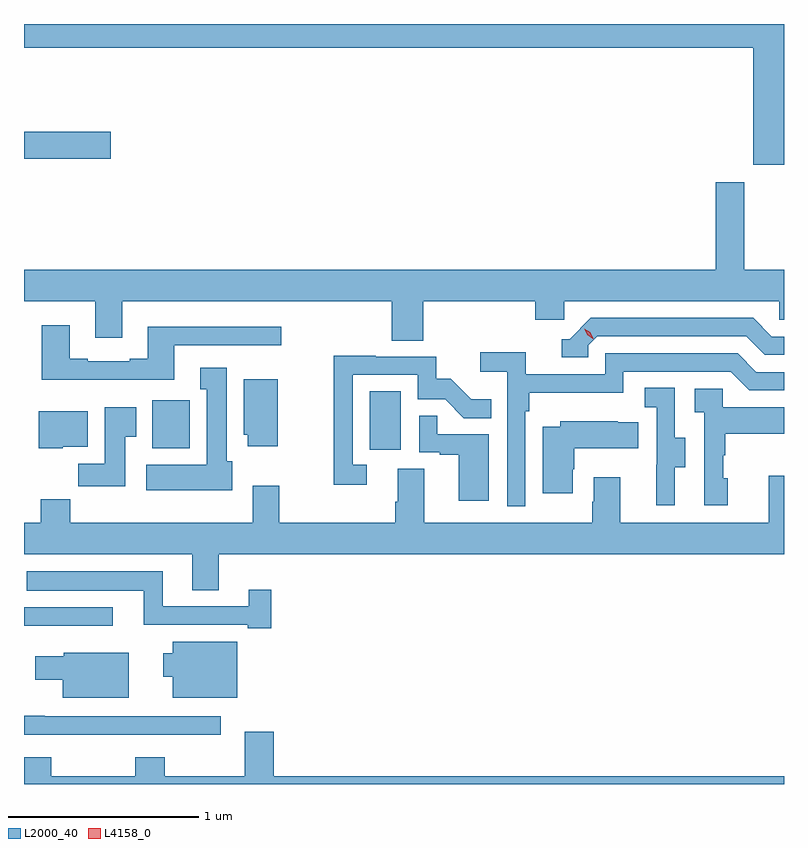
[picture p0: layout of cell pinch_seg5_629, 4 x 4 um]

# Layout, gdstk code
import gdstk
lib = gdstk.Library(unit=1e-6, precision=1e-09)
def R(c, l, rs):  # rectangles x0, y0, x1, y1
    for r in rs: c.add(gdstk.rectangle(r[:2], r[2:], *l))
def P(c, l, *ps):  # polygons
    for p in ps: c.add(gdstk.Polygon(p, *l))
L2000_40 = (2000, 40)
L4158_0 = (4158, 0)

pinch_seg5_629 = lib.new_cell('pinch_seg5_629')
R(pinch_seg5_629, L2000_40, [(1071.703,859.046,1072.171,859.143), (1073.522,859.974,1073.686,860.281), (1072.379,859.982,1072.575,860.233), (1071.703,861.506,1072.159,861.648)])
P(pinch_seg5_629, L2000_40, [(1075.703,862.214),(1071.703,862.214),(1071.703,862.088),(1075.541,862.088),(1075.541,861.474),(1075.703,861.474)],
  [(1073.804,860.756),(1074.395,860.756),(1074.395,860.658),(1074.546,860.658),(1074.546,860.756),(1075.677,860.756),(1075.677,860.658),(1075.703,860.658),(1075.703,860.92),(1075.495,860.92),(1075.495,861.382),(1075.343,861.382),(1075.343,860.92),(1071.703,860.92),(1071.703,860.756),(1072.079,860.756),(1072.079,860.562),(1072.219,860.562),(1072.219,860.756),(1073.639,860.756),(1073.639,860.548),(1073.804,860.548)],
  [(1074.672,860.523),(1074.72,860.571),(1075.503,860.571),(1075.602,860.472),(1075.703,860.472),(1075.703,860.568),(1075.639,860.568),(1075.54,860.667),(1074.687,860.667),(1074.576,860.556),(1074.533,860.556),(1074.533,860.46),(1074.672,860.46)],
  [(1072.495,860.523),(1073.056,860.523),(1073.056,860.62),(1072.355,860.62),(1072.355,860.452),(1072.259,860.452),(1072.259,860.439),(1072.039,860.439),(1072.039,860.452),(1071.943,860.452),(1071.943,860.629),(1071.796,860.629),(1071.796,860.342),(1072.495,860.342)],
  [(1074.342,860.177),(1074.362,860.177),(1074.362,860.273),(1074.858,860.273),(1074.858,860.385),(1075.422,860.385),(1075.521,860.286),(1075.703,860.286),(1075.703,860.382),(1075.558,860.382),(1075.459,860.481),(1074.762,860.481),(1074.762,860.37),(1074.344,860.37),(1074.344,860.486),(1074.105,860.486),(1074.105,860.384),(1074.246,860.384),(1074.246,859.677),(1074.342,859.677)],
  [(1073.506,859.893),(1073.433,859.893),(1073.433,860.367),(1073.775,860.367),(1073.775,860.238),(1073.919,860.238),(1074.017,860.14),(1074.161,860.14),(1074.161,860.239),(1074.057,860.239),(1073.95,860.346),(1073.874,860.346),(1073.874,860.463),(1073.555,860.463),(1073.555,860.468),(1073.332,860.468),(1073.332,859.788),(1073.506,859.788)],
  [(1072.798,859.914),(1072.771,859.914),(1072.771,860.404),(1072.631,860.404),(1072.631,860.291),(1072.664,860.291),(1072.664,859.894),(1072.347,859.894),(1072.347,859.76),(1072.798,859.76)],
  [(1073.038,860.344),(1072.859,860.344),(1072.859,860.052),(1072.88,860.052),(1072.88,859.992),(1073.038,859.992)],
  [(1075.129,859.882),(1075.183,859.882),(1075.183,860.037),(1075.128,860.037),(1075.128,860.3),(1074.969,860.3),(1074.969,860.197),(1075.032,860.197),(1075.032,859.893),(1075.031,859.893),(1075.031,859.68),(1075.129,859.68)],
  [(1075.408,859.824),(1075.383,859.824),(1075.383,859.943),(1075.393,859.943),(1075.393,860.057),(1075.703,860.057),(1075.703,860.197),(1075.38,860.197),(1075.38,860.295),(1075.233,860.295),(1075.233,860.171),(1075.284,860.171),(1075.284,859.68),(1075.408,859.68)],
  [(1072.237,860.041),(1072.294,860.041),(1072.294,860.197),(1072.127,860.197),(1072.127,859.9),(1071.988,859.9),(1071.988,859.782),(1072.237,859.782)],
  [(1071.906,859.988),(1072.039,859.988),(1072.039,860.176),(1071.781,860.176),(1071.781,859.982),(1071.906,859.982)],
  [(1074.148,860.055),(1073.879,860.055),(1073.879,860.153),(1073.784,860.153),(1073.784,859.959),(1073.891,859.959),(1073.891,859.947),(1073.99,859.947),(1073.99,859.704),(1074.148,859.704)],
  [(1074.592,859.871),(1074.6,859.871),(1074.6,859.982),(1074.935,859.982),(1074.935,860.119),(1074.827,860.119),(1074.827,860.122),(1074.525,860.122),(1074.525,860.095),(1074.434,860.095),(1074.434,859.743),(1074.592,859.743)],
  [(1072.729,859.424),(1075.703,859.424),(1075.703,859.837),(1075.622,859.837),(1075.622,859.588),(1074.841,859.588),(1074.841,859.828),(1074.701,859.828),(1074.701,859.7),(1074.694,859.7),(1074.694,859.588),(1073.809,859.588),(1073.809,859.874),(1073.669,859.874),(1073.669,859.7),(1073.657,859.7),(1073.657,859.588),(1073.047,859.588),(1073.047,859.783),(1072.907,859.783),(1072.907,859.588),(1071.947,859.588),(1071.947,859.712),(1071.791,859.712),(1071.791,859.588),(1071.703,859.588),(1071.703,859.424),(1072.589,859.424),(1072.589,859.234),(1072.729,859.234)],
  [(1073.003,859.237),(1072.886,859.237),(1072.886,859.149),(1072.432,859.149),(1072.432,859.333),(1071.717,859.333),(1071.717,859.232),(1072.334,859.232),(1072.334,859.053),(1072.88,859.053),(1072.88,859.033),(1073.003,859.033)],
  [(1072.825,858.964),(1072.487,858.964),(1072.487,858.901),(1072.436,858.901),(1072.436,858.779),(1072.487,858.779),(1072.487,858.668),(1072.825,858.668)],
  [(1072.255,858.904),(1071.912,858.904),(1071.912,858.886),(1071.762,858.886),(1071.762,858.764),(1071.908,858.764),(1071.908,858.668),(1072.255,858.668)],
  [(1072.199,858.474),(1072.738,858.474),(1072.738,858.57),(1071.812,858.57),(1071.812,858.572),(1071.703,858.572),(1071.703,858.474),(1071.943,858.474),(1071.943,858.473),(1072.199,858.473)],
  [(1075.703,858.256),(1073.018,858.256),(1073.018,858.49),(1072.865,858.49),(1072.865,858.256),(1072.443,858.256),(1072.443,858.355),(1072.288,858.355),(1072.288,858.256),(1071.847,858.256),(1071.847,858.355),(1071.703,858.355),(1071.703,858.214),(1075.703,858.214)])
P(pinch_seg5_629, L4158_0, [(1074.697,860.558),(1074.667,860.578),(1074.651,860.61),(1074.651,860.611),(1074.651,860.611),(1074.682,860.591),(1074.698,860.559),(1074.698,860.558)])

lib.write_gds('pinch_seg5_629.gds')
